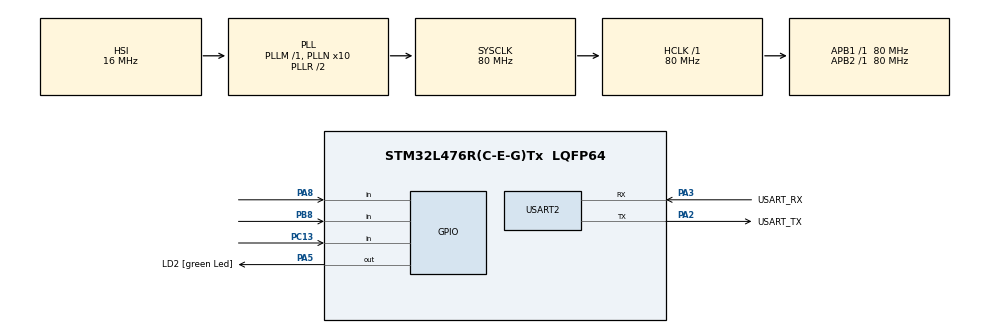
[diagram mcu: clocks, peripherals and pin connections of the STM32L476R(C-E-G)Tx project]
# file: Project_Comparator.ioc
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Mcu.Family=STM32L4
Mcu.Name=STM32L476R(C-E-G)Tx
Mcu.Package=LQFP64
NVIC.PriorityGroup=NVIC_PRIORITYGROUP_4
NVIC.TIM3_IRQn=true\:0\:0\:false\:false\:true\:true\:true\:true
PA13\ (JTMS-SWDIO).GPIO_Label=TMS
PA13\ (JTMS-SWDIO).Mode=Serial_Wire
PA13\ (JTMS-SWDIO).Signal=SYS_JTMS-SWDIO
PA14\ (JTCK-SWCLK).GPIO_Label=TCK
PA14\ (JTCK-SWCLK).Mode=Serial_Wire
PA14\ (JTCK-SWCLK).Signal=SYS_JTCK-SWCLK
PA2.GPIO_Label=USART_TX
PA2.GPIO_Mode=GPIO_MODE_AF_PP
PA2.GPIO_PuPd=GPIO_NOPULL
PA2.GPIO_Speed=GPIO_SPEED_FREQ_VERY_HIGH
PA2.Mode=Asynchronous
PA2.Signal=USART2_TX
PA3.GPIO_Label=USART_RX
PA3.GPIO_Mode=GPIO_MODE_AF_PP
PA3.GPIO_PuPd=GPIO_NOPULL
PA3.GPIO_Speed=GPIO_SPEED_FREQ_VERY_HIGH
PA3.Mode=Asynchronous
PA3.Signal=USART2_RX
PA5.GPIO_Label=LD2 [green Led]
PA5.GPIO_ModeDefaultOutputPP=GPIO_MODE_OUTPUT_PP
PA5.GPIO_PuPd=GPIO_NOPULL
PA5.GPIO_Speed=GPIO_SPEED_FREQ_LOW
PA5.Signal=GPIO_Output
PA8.Signal=GPIO_Input
PB3\ (JTDO-TRACESWO).GPIO_Label=SWO
PB3\ (JTDO-TRACESWO).Signal=SYS_JTDO-SWO
PB8.Signal=GPIO_Input
PC13.Signal=GPIO_Input
PC14-OSC32_IN\ (PC14).Mode=LSE-External-Oscillator
PC14-OSC32_IN\ (PC14).Signal=RCC_OSC32_IN
PC15-OSC32_OUT\ (PC15).Mode=LSE-External-Oscillator
PC15-OSC32_OUT\ (PC15).Signal=RCC_OSC32_OUT
PH0-OSC_IN\ (PH0).Signal=RCC_OSC_IN
PH1-OSC_OUT\ (PH1).Signal=RCC_OSC_OUT
ProjectManager.HeapSize=0x200
ProjectManager.StackSize=0x400
ProjectManager.TargetToolchain=STM32CubeIDE
RCC.ADCFreq_Value=64000000
RCC.AHBFreq_Value=80000000
RCC.APB1Freq_Value=80000000
RCC.APB1TimFreq_Value=80000000
RCC.APB2Freq_Value=80000000
RCC.APB2TimFreq_Value=80000000
RCC.CortexFreq_Value=80000000
RCC.HCLKFreq_Value=80000000
RCC.HSE_VALUE=8000000
RCC.HSI_VALUE=16000000
RCC.MSI_VALUE=4000000
RCC.PLLN=10
RCC.PLLSourceVirtual=RCC_PLLSOURCE_HSI
RCC.PREFETCH_ENABLE=1
RCC.SYSCLKFreq_VALUE=80000000
RCC.SYSCLKSource=RCC_SYSCLKSOURCE_PLLCLK
RCC.USBFreq_Value=64000000
RCC.VCOOutputFreq_Value=160000000
TIM3.Period=1000-1
TIM3.Prescaler=800-1
USART2.VirtualMode-Asynchronous=VM_ASYNC
VP_TIM3_VS_ClockSourceINT.Mode=Internal
board=NUCLEO-L476RG

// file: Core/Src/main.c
/* USER CODE BEGIN Header */
/**
  ******************************************************************************
  * @file           : main.c
  * @brief          : Main program body
  ******************************************************************************
  * @attention
  *
  * Copyright (c) 2022 STMicroelectronics.
  * All rights reserved.
  *
  * This software is licensed under terms that can be found in the LICENSE file
  * in the root directory of this software component.
  * If no LICENSE file comes with this software, it is provided AS-IS.
  *
  ******************************************************************************
  */
/* USER CODE END Header */
#include "main.h"

/* USER CODE BEGIN Includes */
#include <stdio.h>
/* USER CODE END Includes */

TIM_HandleTypeDef htim3;

UART_HandleTypeDef huart2;

void SystemClock_Config(void);
static void MX_GPIO_Init(void);
static void MX_USART2_UART_Init(void);
static void MX_TIM3_Init(void);

/* USER CODE BEGIN 0 */
#ifdef __GNUC__
#define PUTCHAR_PROTOTYPE int __io_putchar(int ch)
#else
#define PUTCHAR_PROTOTYPE int fputc(int ch, FILE *f)
#endif

PUTCHAR_PROTOTYPE
{
  HAL_UART_Transmit(&huart2, (uint8_t *)&ch, 1, HAL_MAX_DELAY);
  return ch;
}

uint16_t cnt;
uint16_t previous_state;
uint16_t pin_flag;
uint16_t comparatorFrequency = 0;
/* USER CODE END 0 */

int main(void)
{

  /* MCU Configuration--------------------------------------------------------*/

  /* Reset of all peripherals, Initializes the Flash interface and the Systick. */
  HAL_Init();

  /* Configure the system clock */
  SystemClock_Config();

  /* Initialize all configured peripherals */
  MX_GPIO_Init();
  MX_USART2_UART_Init();
  MX_TIM3_Init();
  /* USER CODE BEGIN 2 */
  HAL_TIM_Base_Start_IT(&htim3);
  /* USER CODE END 2 */

  /* Infinite loop */
  while (1)
  {

    /* USER CODE BEGIN 3 */
	  uint16_t current_state;
	  current_state = HAL_GPIO_ReadPin(GPIOB, GPIO_PIN_8);  //PB8

	  if(current_state != previous_state){
		  pin_flag = 1;
	  }
	  else
		  pin_flag = 0;

	  if(pin_flag == 1){
		  cnt ++;
		  previous_state = current_state;
	  }
	  else
		  previous_state = current_state;
  }
  /* USER CODE END 3 */
}

void SystemClock_Config(void)
{
  RCC_OscInitTypeDef RCC_OscInitStruct = {0};
  RCC_ClkInitTypeDef RCC_ClkInitStruct = {0};

  /** Configure the main internal regulator output voltage
  */
  if (HAL_PWREx_ControlVoltageScaling(PWR_REGULATOR_VOLTAGE_SCALE1) != HAL_OK)
  {
    Error_Handler();
  }

  /** Initializes the RCC Oscillators according to the specified parameters
  * in the RCC_OscInitTypeDef structure.
  */
  RCC_OscInitStruct.OscillatorType = RCC_OSCILLATORTYPE_HSI;
  RCC_OscInitStruct.HSIState = RCC_HSI_ON;
  RCC_OscInitStruct.HSICalibrationValue = RCC_HSICALIBRATION_DEFAULT;
  RCC_OscInitStruct.PLL.PLLState = RCC_PLL_ON;
  RCC_OscInitStruct.PLL.PLLSource = RCC_PLLSOURCE_HSI;
  RCC_OscInitStruct.PLL.PLLM = 1;
  RCC_OscInitStruct.PLL.PLLN = 10;
  RCC_OscInitStruct.PLL.PLLP = RCC_PLLP_DIV7;
  RCC_OscInitStruct.PLL.PLLQ = RCC_PLLQ_DIV2;
  RCC_OscInitStruct.PLL.PLLR = RCC_PLLR_DIV2;
  if (HAL_RCC_OscConfig(&RCC_OscInitStruct) != HAL_OK)
  {
    Error_Handler();
  }

  /** Initializes the CPU, AHB and APB buses clocks
  */
  RCC_ClkInitStruct.ClockType = RCC_CLOCKTYPE_HCLK|RCC_CLOCKTYPE_SYSCLK
                              |RCC_CLOCKTYPE_PCLK1|RCC_CLOCKTYPE_PCLK2;
  RCC_ClkInitStruct.SYSCLKSource = RCC_SYSCLKSOURCE_PLLCLK;
  RCC_ClkInitStruct.AHBCLKDivider = RCC_SYSCLK_DIV1;
  RCC_ClkInitStruct.APB1CLKDivider = RCC_HCLK_DIV1;
  RCC_ClkInitStruct.APB2CLKDivider = RCC_HCLK_DIV1;

  if (HAL_RCC_ClockConfig(&RCC_ClkInitStruct, FLASH_LATENCY_4) != HAL_OK)
  {
    Error_Handler();
  }
}

static void MX_TIM3_Init(void)
{

  TIM_ClockConfigTypeDef sClockSourceConfig = {0};
  TIM_MasterConfigTypeDef sMasterConfig = {0};

  htim3.Instance = TIM3;
  htim3.Init.Prescaler = 800-1;
  htim3.Init.CounterMode = TIM_COUNTERMODE_UP;
  htim3.Init.Period = 10000-1;
  htim3.Init.ClockDivision = TIM_CLOCKDIVISION_DIV1;
  htim3.Init.AutoReloadPreload = TIM_AUTORELOAD_PRELOAD_DISABLE;
  if (HAL_TIM_Base_Init(&htim3) != HAL_OK)
  {
    Error_Handler();
  }
  sClockSourceConfig.ClockSource = TIM_CLOCKSOURCE_INTERNAL;
  if (HAL_TIM_ConfigClockSource(&htim3, &sClockSourceConfig) != HAL_OK)
  {
    Error_Handler();
  }
  sMasterConfig.MasterOutputTrigger = TIM_TRGO_RESET;
  sMasterConfig.MasterSlaveMode = TIM_MASTERSLAVEMODE_DISABLE;
  if (HAL_TIMEx_MasterConfigSynchronization(&htim3, &sMasterConfig) != HAL_OK)
  {
    Error_Handler();
  }

}

static void MX_USART2_UART_Init(void)
{

  huart2.Instance = USART2;
  huart2.Init.BaudRate = 115200;
  huart2.Init.WordLength = UART_WORDLENGTH_8B;
  huart2.Init.StopBits = UART_STOPBITS_1;
  huart2.Init.Parity = UART_PARITY_NONE;
  huart2.Init.Mode = UART_MODE_TX_RX;
  huart2.Init.HwFlowCtl = UART_HWCONTROL_NONE;
  huart2.Init.OverSampling = UART_OVERSAMPLING_16;
  huart2.Init.OneBitSampling = UART_ONE_BIT_SAMPLE_DISABLE;
  huart2.AdvancedInit.AdvFeatureInit = UART_ADVFEATURE_NO_INIT;
  if (HAL_UART_Init(&huart2) != HAL_OK)
  {
    Error_Handler();
  }

}

static void MX_GPIO_Init(void)
{
  GPIO_InitTypeDef GPIO_InitStruct = {0};

  /* GPIO Ports Clock Enable */
  __HAL_RCC_GPIOC_CLK_ENABLE();
  __HAL_RCC_GPIOH_CLK_ENABLE();
  __HAL_RCC_GPIOA_CLK_ENABLE();
  __HAL_RCC_GPIOB_CLK_ENABLE();

  /*Configure GPIO pin Output Level */
  HAL_GPIO_WritePin(LD2_GPIO_Port, LD2_Pin, GPIO_PIN_RESET);

  /*Configure GPIO pin : PC13 */
  GPIO_InitStruct.Pin = GPIO_PIN_13;
  GPIO_InitStruct.Mode = GPIO_MODE_INPUT;
  GPIO_InitStruct.Pull = GPIO_NOPULL;
  HAL_GPIO_Init(GPIOC, &GPIO_InitStruct);

  /*Configure GPIO pin : LD2_Pin */
  GPIO_InitStruct.Pin = LD2_Pin;
  GPIO_InitStruct.Mode = GPIO_MODE_OUTPUT_PP;
  GPIO_InitStruct.Pull = GPIO_NOPULL;
  GPIO_InitStruct.Speed = GPIO_SPEED_FREQ_LOW;
  HAL_GPIO_Init(LD2_GPIO_Port, &GPIO_InitStruct);

  /*Configure GPIO pin : PA8 */
  GPIO_InitStruct.Pin = GPIO_PIN_8;
  GPIO_InitStruct.Mode = GPIO_MODE_INPUT;
  GPIO_InitStruct.Pull = GPIO_NOPULL;
  HAL_GPIO_Init(GPIOA, &GPIO_InitStruct);

  /*Configure GPIO pin : PB8 */
  GPIO_InitStruct.Pin = GPIO_PIN_8;
  GPIO_InitStruct.Mode = GPIO_MODE_INPUT;
  GPIO_InitStruct.Pull = GPIO_NOPULL;
  HAL_GPIO_Init(GPIOB, &GPIO_InitStruct);

}

/* USER CODE BEGIN 4 */
void HAL_TIM_PeriodElapsedCallback(TIM_HandleTypeDef *htim){
	if(htim == (&htim3)){
		comparatorFrequency = 5 * cnt;
		printf("%d\r\n", comparatorFrequency);
		cnt = 0;
	}
}
/* USER CODE END 4 */

void Error_Handler(void)
{
  __disable_irq();
  while (1)
  {
  }
}
